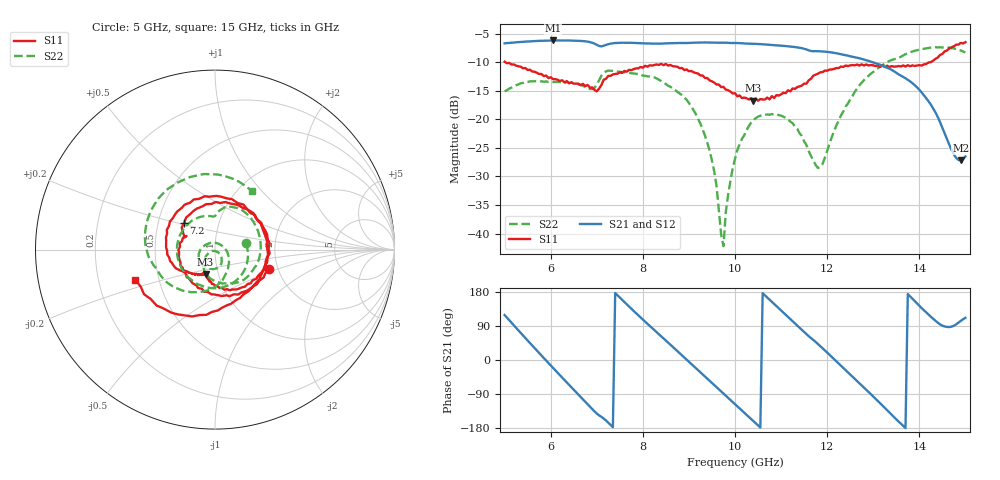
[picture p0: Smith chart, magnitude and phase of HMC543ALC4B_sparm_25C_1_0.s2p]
!Analog Devices Inc..
!22.5deg MMIC 4-BIT DIGITAL PHASE SHIFTER, 8 - 12 GHz
!Filename: HMC543ALC4B_sparm_25C_1_0.s2p
!  :25C = 25degC
!  :_1_ = Sn1
!  :_0  = 0 state
!Device type:
!2 Port Calibration to sma connectors
!Phase Shifter:  0.000
!	High Control	Low Control
!	 Volts  Volts
!	0.00  -3.00
!Freq	S11	S11	S21	S21	S12	S12	S22	S22
! GHz	Mag dB	Degrees	Mag dB	Degrees	Mag dB	Degrees	Mag dB	Degrees
# GHZ S DB R 50.0
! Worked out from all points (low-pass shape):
!   201 points, 5 GHz to 15 GHz, reference 50 ohm
!   highest |S21| = -6.18 dB at 6.05 GHz (marker M1); lowest = -27.2 dB at 14.9 GHz (marker M2)
!   |S21| within 3 dB of the highest: start of sweep to 12.63 GHz
!   lowest |S11| = -16.7 dB at 10.4 GHz (marker M3), VSWR 1.34, Z = 43.5 - j12.1 ohm
!   |S11| at or under -10 dB: 5.017 GHz to 14.23 GHz (9.211 GHz wide, 95.7 % of centre)
!   |S22| runs from -42.2 to -7.4 dB; largest |S21 - S12| = 0.0016
!   S11 on the Smith chart (normalised r, x): 5 GHz: 1.79, -0.43; 7.2 GHz: 0.68, +0.21; 15 GHz: 0.37, -0.16
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5  -9.91 -19.9  -6.69 118.6  -6.68 118.5  -15.08 11.3
5.45  -11.00 -62.5  -6.39 58.1  -6.39 58.0  -13.46 -64.5
6.05  -12.95 -116.9  -6.18 -20.8  -6.19 -20.9  -13.46 -158.0
6.7  -13.78 -179.3  -6.29 -103.8  -6.29 -103.9  -14.12 108.8
7.2  -12.90 139.8  -6.97 -159.7  -6.97 -159.7  -11.60 61.5
7.85  -11.08 62.6  -6.62 123.8  -6.61 123.7  -12.01 -11.5
8.35  -10.46 10.3  -6.73 67.8  -6.72 67.8  -13.07 -55.3
8.85  -10.99 -34.9  -6.63 12.2  -6.62 12.2  -15.76 -99.5
9.300001  -12.32 -69.6  -6.54 -38.0  -6.52 -38.1  -21.78 -137.0
9.55  -13.57 -84.3  -6.57 -66.2  -6.56 -66.3  -29.14 -153.6
9.750001  -14.31 -95.3  -6.58 -88.5  -6.56 -88.6  -42.20 -68.9
9.85  -14.89 -100.0  -6.60 -99.8  -6.58 -99.9  -33.25 -40.6
10.05  -15.96 -105.1  -6.63 -122.2  -6.62 -122.2  -25.38 -48.7
10.4  -16.73 -111.0  -6.76 -161.3  -6.75 -161.4  -20.14 -76.2
11.1  -15.41 -127.5  -7.16 119.8  -7.15 119.7  -19.75 -149.9
11.7  -12.34 -154.5  -8.07 53.0  -8.06 52.8  -27.18 119.9
12.2  -11.01 166.3  -8.42 -3.6  -8.41 -3.8  -21.03 -29.6
12.7  -10.58 118.0  -9.30 -61.1  -9.29 -61.3  -14.03 -86.2
13.35  -10.83 37.6  -11.12 -138.2  -11.12 -138.4  -9.76 -146.1
14.1  -10.36 -62.5  -15.78 131.3  -15.77 131.2  -7.63 150.9
14.9  -6.61 -147.8  -27.16 103.4  -27.16 103.2  -7.93 70.5
15  -6.48 -159.1  -26.50 111.2  -26.51 111.0  -8.27 58.0
